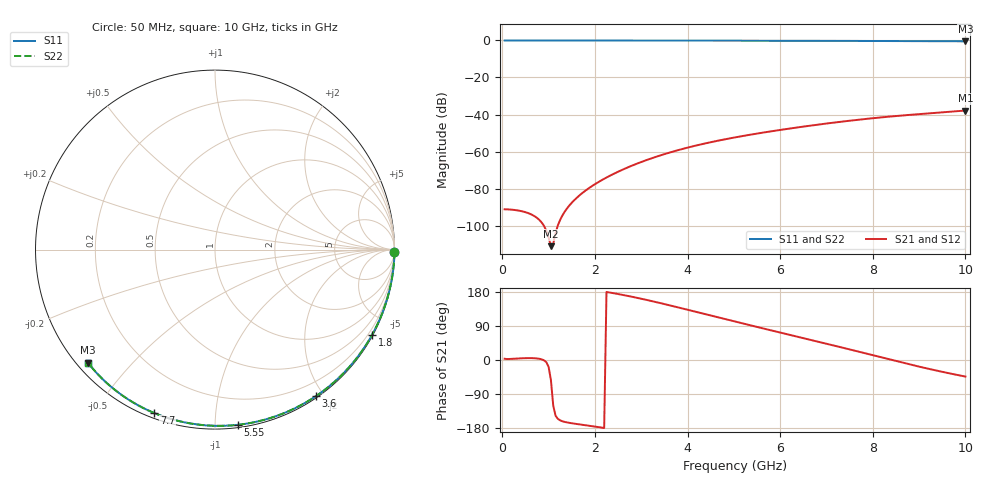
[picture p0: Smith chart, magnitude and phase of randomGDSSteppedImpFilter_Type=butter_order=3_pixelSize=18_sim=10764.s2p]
! freq	dB(S11)	phase(S11)	dB(S12)	phase(S12)
!  dB(S21)	phase(S21)	dB(S22)	phase(S22)
!S-par simulation data
#  GHz  S  DB  R 50
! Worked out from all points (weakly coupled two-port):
!   200 points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, 50 MHz to 10 GHz, reference 50 ohm
!   highest |S21| = -37.84 dB at 10 GHz (marker M1); lowest = -111.1 dB at 1.05 GHz (marker M2)
!   lowest |S11| = -0.5 dB at 10 GHz (marker M3), VSWR 37.19, Z = 1.54 - j19 ohm
!   |S11| at or under -10 dB: nowhere
!   |S22| runs from -0.5 to 0.0 dB; largest |S21 - S12| = 0
!   S11 on the Smith chart (normalised r, x): 50 MHz: open; 1.8 GHz: 0.03, -3.96; 3.6 GHz: 0.02, -1.90; 5.55 GHz: 0.02, -1.14; 7.7 GHz: 0.02, -0.70; 10 GHz: 0.03, -0.38
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0.05  -0.00 -0.8  -91.16 3.2  -91.16 3.2  -0.00 -0.8
0.55  -0.01 -8.8  -93.14 5.0  -93.14 5.0  -0.01 -8.8
1.05  -0.02 -16.7  -111.08 -53.0  -111.08 -53.0  -0.02 -16.7
1.75  -0.04 -27.6  -81.96 -171.3  -81.96 -171.3  -0.04 -27.6
1.8  -0.04 -28.4  -81.01 -172.1  -81.01 -172.1  -0.04 -28.4
1.85  -0.04 -29.1  -80.11 -173.0  -80.11 -173.0  -0.04 -29.1
2.05  -0.04 -32.2  -76.85 -176.5  -76.85 -176.5  -0.04 -32.2
2.25  -0.05 -35.3  -74.00 179.5  -74.00 179.5  -0.05 -35.3
2.65  -0.05 -41.3  -69.18 170.6  -69.18 170.6  -0.05 -41.3
3  -0.06 -46.6  -65.64 161.7  -65.64 161.7  -0.06 -46.6
3.4  -0.07 -52.5  -62.16 150.5  -62.16 150.5  -0.07 -52.5
3.6  -0.07 -55.4  -60.62 144.7  -60.62 144.7  -0.07 -55.4
3.9  -0.08 -59.8  -58.52 135.7  -58.52 135.7  -0.08 -59.8
4.3  -0.09 -65.5  -56.05 123.4  -56.05 123.4  -0.09 -65.5
5.05  -0.12 -75.9  -52.23 100.6  -52.23 100.6  -0.12 -75.9
5.55  -0.14 -82.7  -50.08 85.8  -50.08 85.8  -0.14 -82.7
6.1  -0.16 -90.0  -47.95 69.6  -47.95 69.6  -0.16 -90.0
6.7  -0.19 -97.8  -45.84 52.0  -45.84 52.0  -0.19 -97.8
7.7  -0.25 -110.4  -42.78 21.7  -42.78 21.7  -0.25 -110.4
8.35  -0.30 -118.4  -41.14 1.8  -41.14 1.8  -0.30 -118.4
9.2  -0.38 -128.7  -39.39 -23.1  -39.39 -23.1  -0.38 -128.7
10  -0.47 -138.4  -37.84 -43.7  -37.84 -43.7  -0.47 -138.3
